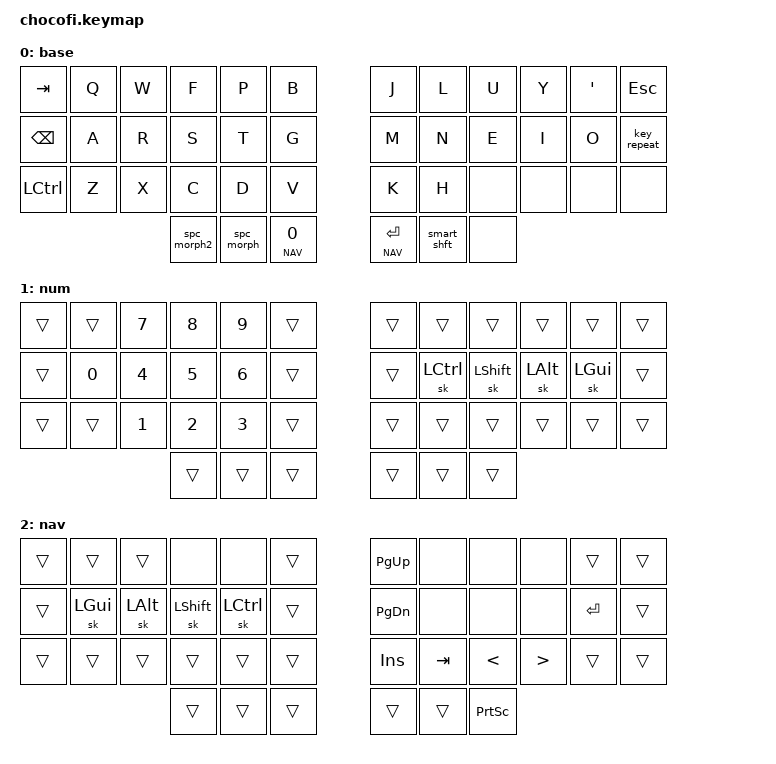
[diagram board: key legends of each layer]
#include <behaviors.dtsi>

#define DEF             0
#define NUM             1
#define NAV             2
#define FN              3

#include "zmk-helpers/helper.h"

#define XXX &none
#define ___ &trans

/* Global settings */
// MARK: Global settings

#define QUICK_TAP_MS 175

&sk {  // sticky-key config
    release-after-ms = <900>;  // release after 0.6s
    quick-release;             // no double capitalization when rolling keys
};

&sl {  // sticky-layer config
    ignore-modifiers;          // allow chording sticky mods & layers
};

&lt {  // layer-tap config
    flavor = "balanced";
    tapping-term-ms = <200>;
    quick-tap-ms = <QUICK_TAP_MS>;
};

/* Keymap */
// MARK: Keymap

#define SIMPLE_MORPH(NAME, MOD, BINDING1, BINDING2) \
    ZMK_MOD_MORPH(NAME, \
        mods = <(MOD_L ## MOD|MOD_R ## MOD)>; \
        bindings = <BINDING1>, <BINDING2>; \
    )
// tap: space | shift + tap: dot -> space -> sticky shift | hold: activate layer
ZMK_HOLD_TAP(lt_spc,
    flavor = "balanced";
    tapping-term-ms = <200>;
    quick-tap-ms = <QUICK_TAP_MS>;
    bindings = <&mo>, <&spc_morph>;
)
SIMPLE_MORPH(spc_morph, SFT, &kp SPACE, &dot_spc)
ZMK_MACRO(dot_spc,
    wait-ms = <0>;
    tap-ms = <5>;
    bindings = <&kp DOT &kp SPACE &sk LSHFT>;
)

SIMPLE_MORPH(spc_morph2, SFT, &kp SPACE, &dot_spc2)
ZMK_MACRO(dot_spc2,
    wait-ms = <0>;
    tap-ms = <5>;
    bindings = <&kp A>;
)

ZMK_MOD_MORPH(smart_shft,
    bindings = <&sk LSHFT>, <&caps_word>;
    mods = <(MOD_LSFT)>;
)
&caps_word {  // mods deactivate caps-word, requires PR #1451
    /delete-property/ ignore-modifiers;
};


ZMK_LAYER(base,
//╭─────────────┬─────────────┬─────────────┬─────────────┬─────────────┬─────────────╮ ╭─────────────┬─────────────┬─────────────┬─────────────┬─────────────┬─────────────╮
    &kp TAB       &kp Q         &kp W         &kp F         &kp P         &kp B           &kp J         &kp L         &kp U         &kp Y         &kp SQT       &kp ESC
//├─────────────┼─────────────┼─────────────┼─────────────┼─────────────┼─────────────┤ ├─────────────┼─────────────┼─────────────┼─────────────┼─────────────┼─────────────┤
    &kp BSPC      &kp A         &kp R         &kp S         &kp T         &kp G           &kp M         &kp N         &kp E         &kp I         &kp O         &key_repeat
//├─────────────┼─────────────┼─────────────┼─────────────┼─────────────┼─────────────┤ ├─────────────┼─────────────┼─────────────┼─────────────┼─────────────┼─────────────┤
    &kp LCTL      &kp Z         &kp X         &kp C         &kp D         &kp V           &kp K         &kp H         XXX XXX XXX XXX
//╰─────────────┴─────────────┴─────────────┼─────────────┼─────────────┼─────────────┤ ├─────────────┼─────────────┼─────────────┼─────────────┴─────────────┴─────────────╯
                                              &spc_morph2      &spc_morph     &lt_spc NAV 0   &lt NAV RET   &smart_shft   XXX
//                                          ╰─────────────┴─────────────┴─────────────╯ ╰─────────────┴─────────────┴─────────────╯
)

ZMK_LAYER(num,
//╭─────────────┬─────────────┬─────────────┬─────────────┬─────────────┬─────────────╮ ╭─────────────┬─────────────┬─────────────┬─────────────┬─────────────┬─────────────╮
    ___           ___           &kp N7        &kp N8        &kp N9        ___             ___           ___           ___           ___           ___           ___
//├─────────────┼─────────────┼─────────────┼─────────────┼─────────────┼─────────────┤ ├─────────────┼─────────────┼─────────────┼─────────────┼─────────────┼─────────────┤
    ___           &kp N0  &kp N4  &kp N5 &kp N6 ___             ___           &sk LCTRL     &sk LSHFT     &sk LALT      &sk LGUI      ___
//├─────────────┼─────────────┼─────────────┼─────────────┼─────────────┼─────────────┤ ├─────────────┼─────────────┼─────────────┼─────────────┼─────────────┼─────────────┤
    ___           ___           &kp N1        &kp N2        &kp N3        ___             ___           ___           ___           ___           ___           ___
//╰─────────────┴─────────────┴─────────────┼─────────────┼─────────────┼─────────────┤ ├─────────────┼─────────────┼─────────────┼─────────────┴─────────────┴─────────────╯
                                              ___           ___           ___             ___           ___           ___
//                                          ╰─────────────┴─────────────┴─────────────╯ ╰─────────────┴─────────────┴─────────────╯
)

ZMK_LAYER(nav,
//╭─────────────┬─────────────┬─────────────┬─────────────┬─────────────┬─────────────╮ ╭─────────────┬─────────────┬─────────────┬─────────────┬─────────────┬─────────────╮
    ___           ___           ___           XXX XXX      ___             &kp PG_UP     XXX XXX XXX       ___           ___
//├─────────────┼─────────────┼─────────────┼─────────────┼─────────────┼─────────────┤ ├─────────────┼─────────────┼─────────────┼─────────────┼─────────────┼─────────────┤
    ___           &sk LGUI      &sk LALT      &sk LSHFT     &sk LCTRL     ___             &kp PG_DN     XXX  XXX   XXX     &kp RET       ___
//├─────────────┼─────────────┼─────────────┼─────────────┼─────────────┼─────────────┤ ├─────────────┼─────────────┼─────────────┼─────────────┼─────────────┼─────────────┤
    ___           ___           ___           ___           ___           ___             &kp INS       &kp TAB       &kp LT        &kp GT        ___           ___
//╰─────────────┴─────────────┴─────────────┼─────────────┼─────────────┼─────────────┤ ├─────────────┼─────────────┼─────────────┼─────────────┴─────────────┴─────────────╯
                                              ___           ___           ___             ___           ___           &kp PSCRN
//                                          ╰─────────────┴─────────────┴─────────────╯ ╰─────────────┴─────────────┴─────────────╯
)
